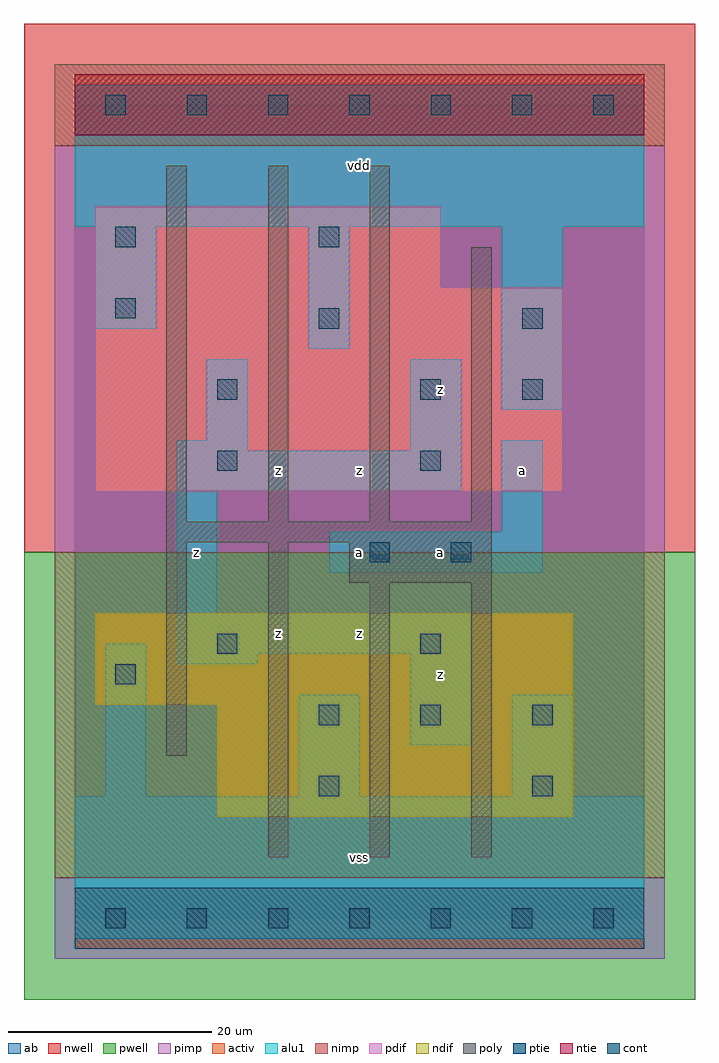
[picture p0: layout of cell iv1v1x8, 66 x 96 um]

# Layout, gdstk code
import gdstk
lib = gdstk.Library(unit=1e-6, precision=1e-09)
def R(c, l, rs):  # rectangles x0, y0, x1, y1
    for r in rs: c.add(gdstk.rectangle(r[:2], r[2:], *l))
def A(c, l, x, y, w, h, nx, ny, dx, dy):  # array of equal rectangles
    R(c, l, [(x+i*dx, y+j*dy, x+i*dx+w, y+j*dy+h) for i in range(nx) for j in range(ny)])
ndif = (3, 0)
pdif = (4, 0)
ntie = (5, 0)
ptie = (6, 0)
cont = (25, 0)
pwell = (41, 0)
nwell = (42, 0)
activ = (43, 0)
pimp = (44, 0)
nimp = (45, 0)
poly = (46, 0)
alu1 = (49, 0)
ab = (63, 0)

iv1v1x8 = lib.new_cell('iv1v1x8')
R(iv1v1x8, ndif, [(14,10,49,21), (2,21,49,30)])
R(iv1v1x8, pdif, [(2,42,48,62), (2,62,36,70)])
R(iv1v1x8, ntie, [(0,77,56,83)])
R(iv1v1x8, ptie, [(0,-3,56,3)])
A(iv1v1x8, cont, 3, -1, 2, 2, 7, 2, 8, 80)
R(iv1v1x8, cont, [(24,12,26,14), (45,12,47,14), (24,19,26,21), (34,19,36,21), (45,19,47,21), (4,23,6,25), (14,26,16,28), (34,26,36,28), (29,35,31,37), (37,35,39,37), (14,44,16,46), (34,44,36,46), (14,51,16,53), (34,51,36,53), (44,51,46,53), (24,58,26,60), (44,58,46,60), (4,59,6,61), (4,66,6,68), (24,66,26,68)])
R(iv1v1x8, pwell, [(-5,-8,61,36)])
R(iv1v1x8, nwell, [(-5,36,61,88)])
R(iv1v1x8, activ, [(0,-3,56,3), (14,10,49,21), (2,21,49,30), (2,42,48,62), (2,62,36,70), (0,77,56,83)])
R(iv1v1x8, pimp, [(-2,-4,58,4), (-2,36,58,76)])
R(iv1v1x8, nimp, [(-2,4,58,36), (-2,76,58,84)])
A(iv1v1x8, poly, 9, 39, 2, 35, 3, 1, 10, 0)
R(iv1v1x8, poly, [(19,6,21,37), (29,6,31,33), (39,6,41,33), (9,16,11,37), (27,33,41,37), (9,37,41,39), (39,39,41,66)])
R(iv1v1x8, alu1, [(0,-2,56,12), (3,12,7,27), (22,12,28,22), (43,12,49,22), (33,17,39,26), (10,25,18,26), (10,26,39,30), (10,30,14,42), (25,34,46,38), (42,38,46,47), (10,42,38,46), (10,46,17,47), (33,46,38,55), (13,47,17,55), (42,50,48,68), (23,56,27,68), (2,58,8,68), (0,68,56,82)])
R(iv1v1x8, ab, [(0,0,56,80)])
iv1v1x8.add(gdstk.Label('z', (12,36), layer=49, texttype=0))
iv1v1x8.add(gdstk.Label('z', (20,28), layer=49, texttype=0))
iv1v1x8.add(gdstk.Label('z', (20,44), layer=49, texttype=0))
iv1v1x8.add(gdstk.Label('vss', (28,6), layer=49, texttype=0))
iv1v1x8.add(gdstk.Label('z', (28,28), layer=49, texttype=0))
iv1v1x8.add(gdstk.Label('a', (28,36), layer=49, texttype=0))
iv1v1x8.add(gdstk.Label('a', (36,36), layer=49, texttype=0))
iv1v1x8.add(gdstk.Label('z', (36,24), layer=49, texttype=0))
iv1v1x8.add(gdstk.Label('z', (28,44), layer=49, texttype=0))
iv1v1x8.add(gdstk.Label('z', (36,52), layer=49, texttype=0))
iv1v1x8.add(gdstk.Label('vdd', (28,74), layer=49, texttype=0))
iv1v1x8.add(gdstk.Label('a', (44,44), layer=49, texttype=0))

lib.write_gds('iv1v1x8.gds')
